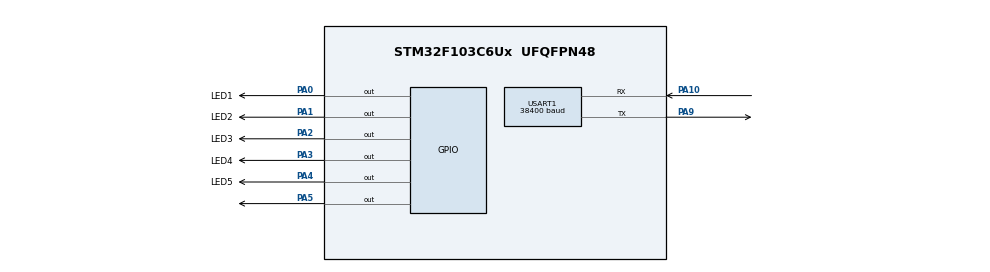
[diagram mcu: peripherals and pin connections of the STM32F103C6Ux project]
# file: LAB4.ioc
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Mcu.Family=STM32F1
Mcu.Name=STM32F103C6Ux
Mcu.Package=UFQFPN48
NVIC.PriorityGroup=NVIC_PRIORITYGROUP_4
NVIC.TIM2_IRQn=true\:0\:0\:false\:false\:true\:true\:true
PA0-WKUP.GPIO_Label=LED1
PA0-WKUP.Signal=GPIO_Output
PA1.GPIO_Label=LED2
PA1.Signal=GPIO_Output
PA10.Mode=Asynchronous
PA10.Signal=USART1_RX
PA2.GPIO_Label=LED3
PA2.Signal=GPIO_Output
PA3.GPIO_Label=LED4
PA3.Signal=GPIO_Output
PA4.GPIO_Label=LED5
PA4.Signal=GPIO_Output
PA5.Signal=GPIO_Output
PA9.Mode=Asynchronous
PA9.Signal=USART1_TX
ProjectManager.HeapSize=0x200
ProjectManager.StackSize=0x400
ProjectManager.TargetToolchain=STM32CubeIDE
RCC.APB1Freq_Value=8000000
RCC.APB2Freq_Value=8000000
TIM2.Period=9
TIM2.Prescaler=7999
USART1.BaudRate=38400
USART1.VirtualMode=VM_ASYNC
VP_SYS_VS_ND.Mode=No_Debug
VP_TIM2_VS_ClockSourceINT.Mode=Internal
board=custom

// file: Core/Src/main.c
/* USER CODE BEGIN Header */
/**
  ******************************************************************************
  * @file           : main.c
  * @brief          : Main program body
  ******************************************************************************
  * @attention
  *
  * <h2><center>&copy; Copyright (c) 2026 STMicroelectronics.
  * All rights reserved.</center></h2>
  *
  * This software component is licensed by ST under BSD 3-Clause license,
  * the "License"; You may not use this file except in compliance with the
  * License. You may obtain a copy of the License at:
  *                        opensource.org/licenses/BSD-3-Clause
  *
  ******************************************************************************
  */
/* USER CODE END Header */
#include "main.h"

/* USER CODE BEGIN Includes */
#include "scheduler.h"

/* USER CODE END Includes */

TIM_HandleTypeDef htim2;

UART_HandleTypeDef huart1;

void SystemClock_Config(void);
static void MX_GPIO_Init(void);
static void MX_TIM2_Init(void);
static void MX_USART1_UART_Init(void);
/* USER CODE BEGIN PFP */
static void Task_10ms(void);
static void Task_500ms(void);
static void Task_1000ms(void);
static void Task_1500ms(void);
static void Task_2000ms(void);
static void Task_2500ms(void);
static void UART_Send_String(const char *text);
static void UART_Send_Number(uint32_t number);
static void UART_Print_10ms_Time(void);
static void UART_Print_Timeout(const char *timeout_name);

/* USER CODE END PFP */

/* USER CODE BEGIN 0 */
static void UART_Send_String(const char *text)
{
  uint16_t length = 0U;

  while (text[length] != '\0')
  {
    length++;
  }

  if (length > 0U)
  {
    (void)HAL_UART_Transmit(&huart1, (uint8_t *)text, length,
                            HAL_MAX_DELAY);
  }
}

static void UART_Send_Number(uint32_t number)
{
  char digits[10];
  uint8_t count = 0U;

  if (number == 0U)
  {
    UART_Send_String("0");
    return;
  }

  while ((number > 0U) && (count < sizeof(digits)))
  {
    digits[count] = (char)('0' + (number % 10U));
    number /= 10U;
    count++;
  }

  while (count > 0U)
  {
    count--;
    (void)HAL_UART_Transmit(&huart1, (uint8_t *)&digits[count], 1U,
                            HAL_MAX_DELAY);
  }
}

static void UART_Print_10ms_Time(void)
{
  uint32_t timestamp = SCH_Get_Time_MS();

  UART_Send_String("T=");
  UART_Send_Number(timestamp);
  UART_Send_String("\r\n");
}

static void UART_Print_Timeout(const char *timeout_name)
{
  uint32_t timestamp = SCH_Get_Time_MS();

  UART_Send_String(timeout_name);
  UART_Send_String("=");
  UART_Send_Number(timestamp);
  UART_Send_String("\r\n");
}

static void Task_10ms(void)
{
  UART_Print_10ms_Time();
}

static void Task_500ms(void)
{
  UART_Print_Timeout("Task500");
}

static void Task_1000ms(void)
{
  UART_Print_Timeout("Task1000");
}

static void Task_1500ms(void)
{
  UART_Print_Timeout("Task1500");
}

static void Task_2000ms(void)
{
  UART_Print_Timeout("Task2000");
}

static void Task_2500ms(void)
{
  UART_Print_Timeout("Task2500");
}

/* USER CODE END 0 */

int main(void)
{

  /* MCU Configuration--------------------------------------------------------*/

  /* Reset of all peripherals, Initializes the Flash interface and the Systick. */
  HAL_Init();

  /* Configure the system clock */
  SystemClock_Config();

  /* Initialize all configured peripherals */
  MX_GPIO_Init();
  MX_TIM2_Init();
  MX_USART1_UART_Init();
  /* USER CODE BEGIN 2 */
  static const uint8_t start_message[] =
      "\r\nLAB4 scheduler demo\r\n"
      "10 ms timer tick started\r\n\r\n";

  UART_Send_String((const char *)start_message);

  SCH_Init();

  /* Scheduler delays and periods are measured in 10 ms ticks. */
  (void)SCH_Add_Task(Task_10ms,   5U,   1U);
  (void)SCH_Add_Task(Task_500ms,  50U,  50U);
  (void)SCH_Add_Task(Task_1000ms, 100U, 100U);
  (void)SCH_Add_Task(Task_1500ms, 150U, 150U);
  (void)SCH_Add_Task(Task_2000ms, 200U, 200U);
  (void)SCH_Add_Task(Task_2500ms, 250U, 250U);

  if (SCH_Get_Last_Error() != SCH_ERROR_NONE)
  {
    Error_Handler();
  }

  if (HAL_TIM_Base_Start_IT(&htim2) != HAL_OK)
  {
    Error_Handler();
  }

  /* USER CODE END 2 */

  /* Infinite loop */
  while (1)
  {

    /* USER CODE BEGIN 3 */
    SCH_Dispatch_Tasks();
  }
  /* USER CODE END 3 */
}

void SystemClock_Config(void)
{
  RCC_OscInitTypeDef RCC_OscInitStruct = {0};
  RCC_ClkInitTypeDef RCC_ClkInitStruct = {0};

  /** Initializes the RCC Oscillators according to the specified parameters
  * in the RCC_OscInitTypeDef structure.
  */
  RCC_OscInitStruct.OscillatorType = RCC_OSCILLATORTYPE_HSI;
  RCC_OscInitStruct.HSIState = RCC_HSI_ON;
  RCC_OscInitStruct.HSICalibrationValue = RCC_HSICALIBRATION_DEFAULT;
  RCC_OscInitStruct.PLL.PLLState = RCC_PLL_NONE;
  if (HAL_RCC_OscConfig(&RCC_OscInitStruct) != HAL_OK)
  {
    Error_Handler();
  }
  /** Initializes the CPU, AHB and APB buses clocks
  */
  RCC_ClkInitStruct.ClockType = RCC_CLOCKTYPE_HCLK|RCC_CLOCKTYPE_SYSCLK
                              |RCC_CLOCKTYPE_PCLK1|RCC_CLOCKTYPE_PCLK2;
  RCC_ClkInitStruct.SYSCLKSource = RCC_SYSCLKSOURCE_HSI;
  RCC_ClkInitStruct.AHBCLKDivider = RCC_SYSCLK_DIV1;
  RCC_ClkInitStruct.APB1CLKDivider = RCC_HCLK_DIV1;
  RCC_ClkInitStruct.APB2CLKDivider = RCC_HCLK_DIV1;

  if (HAL_RCC_ClockConfig(&RCC_ClkInitStruct, FLASH_LATENCY_0) != HAL_OK)
  {
    Error_Handler();
  }
}

static void MX_TIM2_Init(void)
{

  TIM_ClockConfigTypeDef sClockSourceConfig = {0};
  TIM_MasterConfigTypeDef sMasterConfig = {0};

  htim2.Instance = TIM2;
  htim2.Init.Prescaler = 7999;
  htim2.Init.CounterMode = TIM_COUNTERMODE_UP;
  htim2.Init.Period = 9;
  htim2.Init.ClockDivision = TIM_CLOCKDIVISION_DIV1;
  htim2.Init.AutoReloadPreload = TIM_AUTORELOAD_PRELOAD_DISABLE;
  if (HAL_TIM_Base_Init(&htim2) != HAL_OK)
  {
    Error_Handler();
  }
  sClockSourceConfig.ClockSource = TIM_CLOCKSOURCE_INTERNAL;
  if (HAL_TIM_ConfigClockSource(&htim2, &sClockSourceConfig) != HAL_OK)
  {
    Error_Handler();
  }
  sMasterConfig.MasterOutputTrigger = TIM_TRGO_RESET;
  sMasterConfig.MasterSlaveMode = TIM_MASTERSLAVEMODE_DISABLE;
  if (HAL_TIMEx_MasterConfigSynchronization(&htim2, &sMasterConfig) != HAL_OK)
  {
    Error_Handler();
  }

}

static void MX_USART1_UART_Init(void)
{

  huart1.Instance = USART1;
  huart1.Init.BaudRate = 38400;
  huart1.Init.WordLength = UART_WORDLENGTH_8B;
  huart1.Init.StopBits = UART_STOPBITS_1;
  huart1.Init.Parity = UART_PARITY_NONE;
  huart1.Init.Mode = UART_MODE_TX_RX;
  huart1.Init.HwFlowCtl = UART_HWCONTROL_NONE;
  huart1.Init.OverSampling = UART_OVERSAMPLING_16;
  if (HAL_UART_Init(&huart1) != HAL_OK)
  {
    Error_Handler();
  }

}

static void MX_GPIO_Init(void)
{
  GPIO_InitTypeDef GPIO_InitStruct = {0};

  /* GPIO Ports Clock Enable */
  __HAL_RCC_GPIOA_CLK_ENABLE();

  /*Configure GPIO pin Output Level */
  HAL_GPIO_WritePin(GPIOA, LED1_Pin|LED2_Pin|LED3_Pin|LED4_Pin
                          |LED5_Pin|GPIO_PIN_5, GPIO_PIN_RESET);

  /*Configure GPIO pins : LED1_Pin LED2_Pin LED3_Pin LED4_Pin
                           LED5_Pin PA5 */
  GPIO_InitStruct.Pin = LED1_Pin|LED2_Pin|LED3_Pin|LED4_Pin
                          |LED5_Pin|GPIO_PIN_5;
  GPIO_InitStruct.Mode = GPIO_MODE_OUTPUT_PP;
  GPIO_InitStruct.Pull = GPIO_NOPULL;
  GPIO_InitStruct.Speed = GPIO_SPEED_FREQ_LOW;
  HAL_GPIO_Init(GPIOA, &GPIO_InitStruct);

}

/* USER CODE BEGIN 4 */
void HAL_TIM_PeriodElapsedCallback(TIM_HandleTypeDef *htim)
{
  if (htim->Instance == TIM2)
  {
    SCH_Update();
  }
}

/* USER CODE END 4 */

void Error_Handler(void)
{
  __disable_irq();
  while (1)
  {
  }
}

/************************ (C) COPYRIGHT STMicroelectronics *****END OF FILE****/
